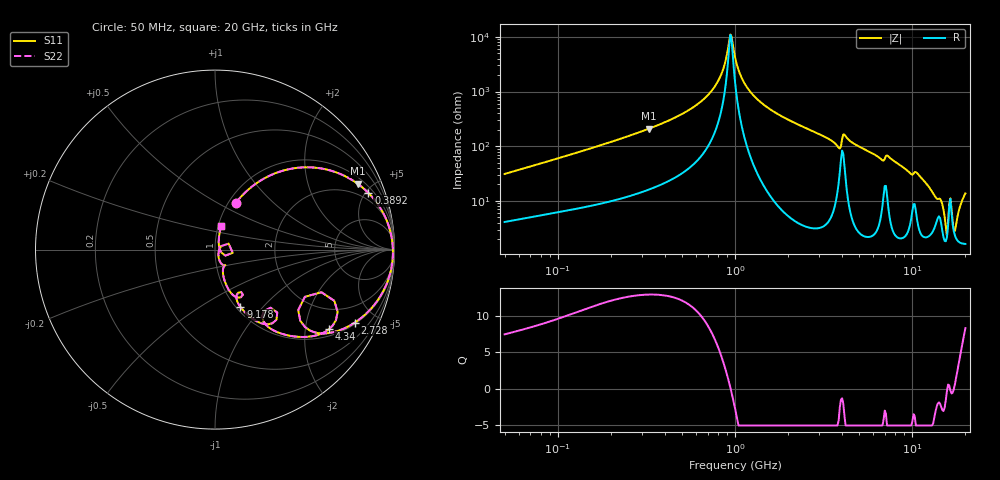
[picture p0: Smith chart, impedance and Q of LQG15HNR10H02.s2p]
!Murata Part Number: LQG15HNR10H02
!These Parameters are Measured in Series Mode Connection
!  o--[Z]--o
!Port1  Port2
!  o-------o
!Freq. Start=50[MHz] Stop=20[GHz], 401[Steps]
# Hz S RI R 50
!Freq.(Hz) S11(Real) S11(Imag) S21(Real) S21(Imag) S12(Real) S12(Imag) S22(Real) S22(Imag)
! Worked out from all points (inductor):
!   401 points, 50 MHz to 20 GHz, reference 50 ohm
!   read as one part in series: L = 96.3 nH near 51.52 MHz
!   highest Q = 12.9 at 325.2 MHz (marker M1), where L = 102 nH
!   self-resonance near 941.8 MHz
!   S11 on the Smith chart (normalised r, x): 50 MHz: 1.08, +0.62; 389.2 MHz: 1.41, +5.24; 2.728 GHz: 1.06, -3.80; 4.34 GHz: 1.22, -2.70; 9.178 GHz: 1.05, -0.76; 20 GHz: 1.03, +0.27
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5e7  0.1171 0.2616  0.8829 -0.2616  0.8829 -0.2616  0.1171 0.2616
1.364002e8  0.4065 0.447  0.5935 -0.447  0.5935 -0.447  0.4065 0.447
3.251725e8  0.7946 0.3672  0.2054 -0.3672  0.2054 -0.3672  0.7946 0.3672
3.721004e8  0.841 0.329  0.159 -0.329  0.159 -0.329  0.841 0.329
3.892024e8  0.855 0.3153  0.145 -0.3153  0.145 -0.3153  0.855 0.3153
7.30116e8  0.9778 0.0971  0.0222 -0.0971  0.0222 -0.0971  0.9778 0.0971
8.354841e8  0.9874 0.0468  0.0126 -0.0468  0.0126 -0.0468  0.9874 0.0468
9.418449e8  0.9911 0.00143  0.00888 -0.00143  0.00888 -0.00143  0.9911 0.00143
1e9  0.9913 -0.0215  0.00869 0.0215  0.00869 0.0215  0.9913 -0.0215
1.110545e9  0.9889 -0.0619  0.0111 0.0619  0.0111 0.0619  0.9889 -0.0619
1.329223e9  0.976 -0.1321  0.024 0.1321  0.024 0.1321  0.976 -0.1321
2.728004e9  0.7796 -0.4063  0.2204 0.4063  0.2204 0.4063  0.7796 -0.4063
3.850025e9  0.4749 -0.3962  0.5251 0.3962  0.5251 0.3962  0.4749 -0.3962
4.34015e9  0.637 -0.4421  0.363 0.4421  0.363 0.4421  0.637 -0.4421
7.442007e9  0.2972 -0.4161  0.7028 0.4161  0.7028 0.4161  0.2972 -0.4161
9.178299e9  0.1417 -0.32  0.8583 0.32  0.8583 0.32  0.1417 -0.32
1.098561e10  0.0993 -0.2528  0.9007 0.2528  0.9007 0.2528  0.0993 -0.2528
1.438523e10  0.0547 -0.0883  0.9453 0.0883  0.9453 0.0883  0.0547 -0.0883
1.550395e10  0.0187 -0.0268  0.9813 0.0268  0.9813 0.0268  0.0187 -0.0268
1.646126e10  0.0986 -0.018  0.9014 0.018  0.9014 0.018  0.0986 -0.018
1.747767e10  0.0228 0.0161  0.9772 -0.0161  0.9772 -0.0161  0.0228 0.0161
2e10  0.0335 0.1297  0.9665 -0.1297  0.9665 -0.1297  0.0335 0.1297
